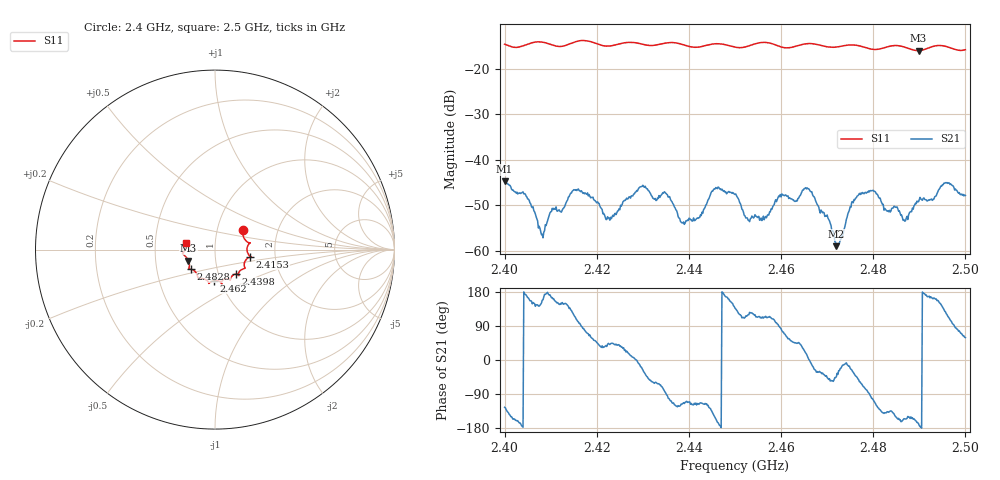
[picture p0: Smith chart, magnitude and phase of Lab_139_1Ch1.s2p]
# Hz S RI R 50
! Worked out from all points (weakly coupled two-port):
!   601 points, 2.4 GHz to 2.5 GHz, reference 50 ohm
!   highest |S21| = -44.70 dB at 2.4 GHz (marker M1); lowest = -59.0 dB at 2.472 GHz (marker M2)
!   lowest |S11| = -15.9 dB at 2.4898 GHz (marker M3), VSWR 1.38, Z = 36.9 - j4.63 ohm
!   |S11| at or under -10 dB: start of sweep to end of sweep
!   S12 and S22 are empty: the file has one direction only
!   S11 on the Smith chart (normalised r, x): 2.4 GHz: 1.33, +0.29; 2.4153 GHz: 1.48, -0.12; 2.4398 GHz: 1.21, -0.34; 2.462 GHz: 0.93, -0.33; 2.4828 GHz: 0.74, -0.17; 2.5 GHz: 0.72, +0.06
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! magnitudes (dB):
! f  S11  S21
! 2.4 GHz  -14.5  -44.7
! 2.4048 GHz  -14.6  -48.2
! 2.4082 GHz  -14.0  -56.4
! 2.4153 GHz  -14.0  -46.7
! 2.4167 GHz  -13.7  -46.8
! 2.4223 GHz  -14.9  -52.6
! 2.4297 GHz  -14.4  -45.9
! 2.4333 GHz  -14.6  -48.5
! 2.4398 GHz  -15.0  -53.4
! 2.4458 GHz  -14.4  -46.1
! 2.45 GHz  -15.1  -47.6
! 2.4528 GHz  -14.9  -53.3
! 2.462 GHz  -15.2  -48.5
! 2.4667 GHz  -14.4  -47.0
! 2.472 GHz  -15.1  -59.0
! 2.4772 GHz  -14.9  -47.7
! 2.4828 GHz  -15.1  -51.2
! 2.4833 GHz  -15.0  -51.4
! 2.487 GHz  -15.2  -53.4
! 2.4898 GHz  -15.9  -49.2
! 2.4958 GHz  -15.0  -45.1
! 2.5 GHz  -15.7  -47.9
